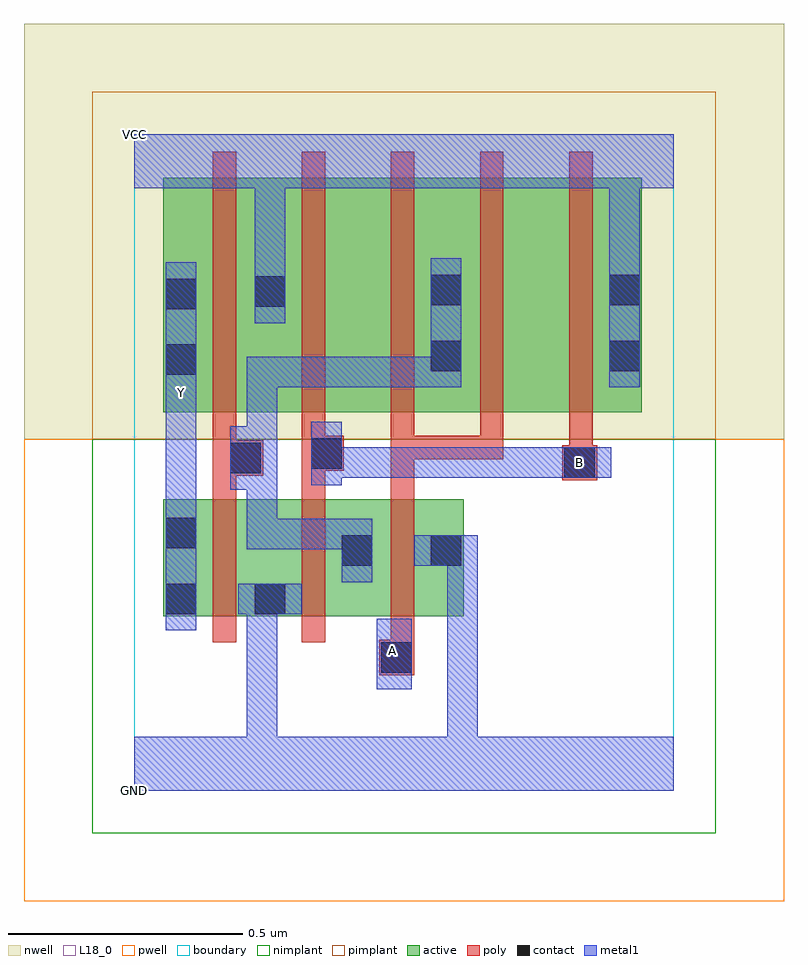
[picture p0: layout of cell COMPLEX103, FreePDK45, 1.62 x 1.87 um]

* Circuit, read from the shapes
.subckt COMPLEX103 A B GND VCC Y
M1 GND n1 Y VSUBS nfet w=0.25u l=0.05u
M2 n1 B GND VSUBS nfet w=0.25u l=0.05u
M3 GND A n1 VSUBS nfet w=0.25u l=0.05u
M4 VCC n1 Y n2 pfet w=0.5u l=0.05u
M5 n3 B VCC n2 pfet w=0.5u l=0.05u
M6 n1 A n3 n2 pfet w=0.5u l=0.05u
M7 n4 A n1 n2 pfet w=0.5u l=0.05u
M8 VCC B n4 n2 pfet w=0.5u l=0.05u
.ends

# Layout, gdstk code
import gdstk
lib = gdstk.Library(unit=1e-6, precision=1e-09)
def R(c, l, rs):  # rectangles x0, y0, x1, y1
    for r in rs: c.add(gdstk.rectangle(r[:2], r[2:], *l))
def A(c, l, x, y, w, h, nx, ny, dx, dy):  # array of equal rectangles
    R(c, l, [(x+i*dx, y+j*dy, x+i*dx+w, y+j*dy+h) for i in range(nx) for j in range(ny)])
active = (1, 0)
pwell = (2, 0)
nwell = (3, 0)
nimplant = (4, 0)
pimplant = (5, 0)
poly = (9, 0)
contact = (10, 0)
metal1 = (11, 0)
L18_0 = (18, 0)
boundary = (235, 0)

complex103 = lib.new_cell('COMPLEX103')
R(complex103, active, [(0.062,0.372,0.137,0.622), (0.062,0.372,0.327,0.622), (0.252,0.372,0.512,0.622), (0.252,0.372,0.327,0.447), (0.437,0.372,0.512,0.622), (0.437,0.372,0.702,0.622), (0.627,0.372,0.702,0.622), (0.062,0.807,0.137,1.2), (0.062,0.807,0.327,1.307), (0.252,0.807,0.327,1.305), (0.252,0.807,0.477,1.307), (0.477,0.807,0.702,1.307), (0.627,0.807,0.857,1.307), (0.627,0.807,0.702,1.2), (0.857,0.807,1.082,1.307), (1.007,0.807,1.082,1.305)])
R(complex103, pwell, [(-0.235,-0.235,1.385,0.75)])
R(complex103, nwell, [(-0.235,0.75,1.385,1.635)])
R(complex103, nimplant, [(-0.09,-0.09,1.24,0.75)])
R(complex103, pimplant, [(-0.09,0.75,1.24,1.49)])
A(complex103, poly, 0.167, 0.317, 0.05, 0.36, 3, 1, 0.19, 0)
A(complex103, poly, 0.357, 0.707, 0.05, 0.095, 3, 1, 0.19, 0)
A(complex103, poly, 0.167, 0.752, 0.05, 0.61, 5, 1, 0.19, 0)
R(complex103, poly, [(0.522,0.247,0.597,0.322), (0.547,0.272,0.597,0.367), (0.167,0.627,0.217,0.722), (0.357,0.627,0.407,0.732), (0.547,0.627,0.597,0.757), (0.912,0.662,0.987,0.737), (0.167,0.672,0.275,0.747), (0.357,0.682,0.447,0.757), (0.927,0.687,0.977,0.802), (0.167,0.697,0.217,0.802), (0.547,0.707,0.597,0.757), (0.547,0.707,0.787,0.757), (0.737,0.707,0.787,0.757), (0.737,0.707,0.787,0.757), (0.737,0.707,0.787,0.757)])
R(complex103, contact, [(0.527,0.252,0.592,0.317), (0.067,0.377,0.132,0.442), (0.257,0.377,0.322,0.442), (0.442,0.48,0.507,0.545), (0.632,0.48,0.697,0.545), (0.067,0.517,0.132,0.582), (0.917,0.667,0.982,0.732), (0.205,0.677,0.27,0.742), (0.377,0.687,0.442,0.752), (0.067,0.887,0.132,0.952), (0.632,0.895,0.697,0.96), (1.012,0.895,1.077,0.96), (0.067,1.027,0.132,1.092), (0.257,1.032,0.322,1.097), (0.632,1.035,0.697,1.1), (1.012,1.035,1.077,1.1)])
R(complex103, metal1, [(0,0,1.15,0.115), (0.24,0.05,0.305,0.115), (0.24,0.05,0.305,0.115), (0.24,0.05,0.305,0.442), (0.667,0.05,0.732,0.115), (0.667,0.05,0.732,0.115), (0.667,0.05,0.732,0.115), (0.667,0.05,0.732,0.115), (0.667,0.05,0.732,0.545), (0.517,0.217,0.592,0.367), (0.067,0.342,0.132,0.617), (0.222,0.377,0.357,0.442), (0.24,0.377,0.305,0.442), (0.24,0.377,0.305,0.442), (0.24,0.377,0.305,0.442), (0.24,0.377,0.305,0.442), (0.442,0.445,0.507,0.58), (0.597,0.48,0.732,0.545), (0.667,0.48,0.732,0.545), (0.667,0.48,0.732,0.545), (0.24,0.515,0.305,0.58), (0.24,0.515,0.407,0.58), (0.24,0.515,0.305,0.707), (0.342,0.515,0.407,0.58), (0.342,0.515,0.507,0.58), (0.067,0.552,0.132,0.847), (0.205,0.642,0.27,0.777), (0.205,0.642,0.305,0.707), (0.24,0.642,0.305,0.707), (0.24,0.642,0.305,0.925), (0.377,0.652,0.442,0.787), (0.377,0.667,0.442,0.732), (0.377,0.667,0.442,0.732), (0.377,0.667,0.672,0.732), (0.607,0.667,0.672,0.732), (0.607,0.667,0.672,0.732), (0.607,0.667,0.672,0.732), (0.607,0.667,0.81,0.732), (0.745,0.667,0.947,0.732), (0.745,0.667,0.81,0.732), (0.745,0.667,0.81,0.732), (0.745,0.667,0.81,0.732), (0.882,0.667,1.017,0.732), (0.067,0.782,0.132,0.917), (0.067,0.852,0.132,1.127), (0.067,0.852,0.132,0.917), (0.24,0.86,0.305,0.925), (0.24,0.86,0.445,0.925), (0.38,0.86,0.582,0.925), (0.38,0.86,0.445,0.925), (0.38,0.86,0.445,0.925), (0.38,0.86,0.445,0.925), (0.517,0.86,0.582,0.925), (0.517,0.86,0.697,0.925), (0.632,0.86,0.697,1.135), (1.012,0.86,1.077,1.135), (0.257,0.997,0.322,1.132), (0.257,1.067,0.322,1.35), (1.012,1.07,1.077,1.35), (0,1.285,1.15,1.4)])
R(complex103, L18_0, [(0,0,1.15,0.115), (0.24,0.05,0.305,0.115), (0.24,0.05,0.305,0.115), (0.24,0.05,0.305,0.442), (0.667,0.05,0.732,0.115), (0.667,0.05,0.732,0.115), (0.667,0.05,0.732,0.115), (0.667,0.05,0.732,0.115), (0.667,0.05,0.732,0.545), (0.517,0.217,0.592,0.367), (0.517,0.267,0.582,0.332), (0.067,0.342,0.132,0.617), (0.222,0.377,0.357,0.442), (0.24,0.377,0.305,0.442), (0.24,0.377,0.305,0.442), (0.24,0.377,0.305,0.442), (0.24,0.377,0.305,0.442), (0.597,0.48,0.732,0.545), (0.667,0.48,0.732,0.545), (0.667,0.48,0.732,0.545), (0.067,0.552,0.132,0.847), (0.377,0.652,0.442,0.787), (0.377,0.667,0.442,0.732), (0.377,0.667,0.442,0.732), (0.377,0.667,0.672,0.732), (0.607,0.667,0.672,0.732), (0.607,0.667,0.672,0.732), (0.607,0.667,0.672,0.732), (0.607,0.667,0.81,0.732), (0.745,0.667,0.81,0.732), (0.745,0.667,0.81,0.732), (0.745,0.667,0.81,0.732), (0.745,0.667,0.947,0.732), (0.882,0.667,1.017,0.732), (0.917,0.667,0.982,0.732), (0.067,0.782,0.132,0.917), (0.067,0.817,0.132,0.882), (0.067,0.852,0.132,1.127), (0.067,0.852,0.132,0.917), (1.012,0.86,1.077,1.135), (0.257,0.997,0.322,1.132), (0.257,1.067,0.322,1.35), (1.012,1.07,1.077,1.35), (0,1.285,1.15,1.4)])
R(complex103, boundary, [(0,0,1.15,1.4)])
complex103.add(gdstk.Label('A', (0.55,0.3), layer=11, texttype=0))
complex103.add(gdstk.Label('B', (0.95,0.7), layer=11, texttype=0))
complex103.add(gdstk.Label('Y', (0.1,0.85), layer=11, texttype=0))
complex103.add(gdstk.Label('VCC', (0,1.4), layer=11, texttype=0))
complex103.add(gdstk.Label('GND', (0,0), layer=11, texttype=0))

lib.write_gds('COMPLEX103.gds')
